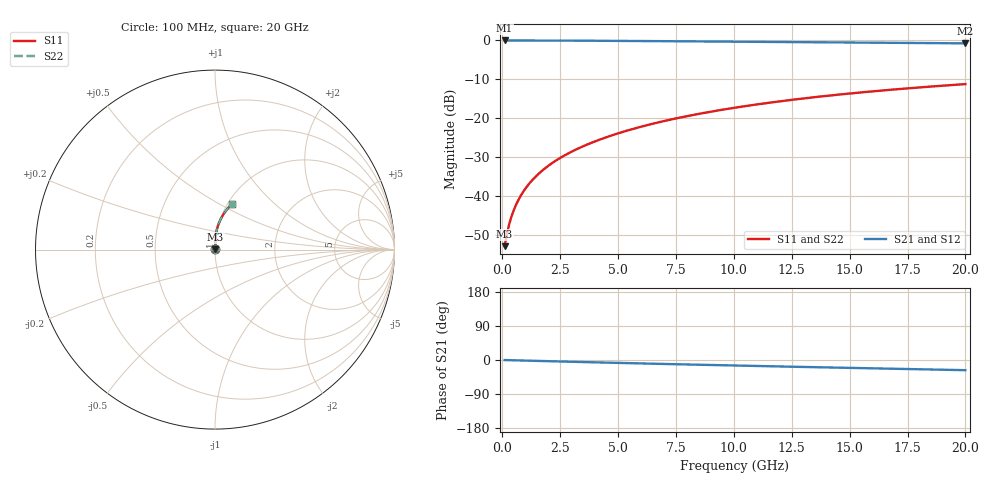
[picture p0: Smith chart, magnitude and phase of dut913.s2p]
! Touchstone file exported from HFSS 2024.1.0
!  File:  C:/UserFiles/LocalFiles/RDL_TSV_Batchsim/temp_RDL_top_913_1779936202.aedt
!  Generated:  10:46:35 AM May 28, 2026
!  Design:  RDL_top
!  Project:  temp_RDL_top_913_1779936202
!  Setup:  Setup1
!  Solution:  Sweep
! Variables:
!  dtsv = 10.80580581um
!  hbump = 3um
!  htsv = 63.31um
!  ldown = 100um
!  lrdl = 352.14um
!  p = 40
!  p1 = 52.16um
!  rhole = 1um
!  t = 450um
!  tdown = 3.915915916um
!  trdl = 3.4um
!  wdown = 15.38538539um
!  wrdl = 23.11um
# GHz S MA R 50.000000
! Terminal data exported
! Port[1] = Box2_T1
! Port[2] = Box2_T2
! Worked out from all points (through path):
!   200 points, 100 MHz to 20 GHz, reference 50 ohm
!   highest |S21| = -0.02 dB at 100 MHz (marker M1); lowest = -0.8 dB at 20 GHz (marker M2)
!   group delay of S21, straight-line fit = 3.69 ps
!   lowest |S11| = -53.0 dB at 100 MHz (marker M3), VSWR 1.00, Z = 50.2 + j0.134 ohm
!   |S11| at or under -10 dB: start of sweep to end of sweep
!   |S22| runs from -53.0 to -11.2 dB; largest |S21 - S12| = 5.1e-15
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0.1  0.002249 36.3  0.9982 -0.2  0.9982 -0.2  0.002249 36.3
! Gamma 0 0 0 0
! Port Impedance 50 0 50 0
0.2  0.003231 54.1  0.9981 -0.3  0.9981 -0.3  0.003231 54.1
0.3  0.004333 62.8  0.998 -0.5  0.998 -0.5  0.004333 62.8
0.4  0.00546 68.0  0.9978 -0.7  0.9978 -0.7  0.00546 68.0
0.5  0.006596 71.5  0.9977 -0.8  0.9977 -0.8  0.006596 71.5
0.6  0.007741 74.0  0.9976 -1.0  0.9976 -1.0  0.007741 74.0
0.8  0.01006 77.6  0.9974 -1.3  0.9974 -1.3  0.01006 77.6
1.1  0.01359 80.8  0.997 -1.8  0.997 -1.8  0.01359 80.8
1.3  0.01598 82.2  0.9968 -2.1  0.9968 -2.1  0.01598 82.2
1.6  0.0196 83.7  0.9963 -2.5  0.9963 -2.5  0.0196 83.7
2.1  0.02573 85.4  0.9952 -3.3  0.9952 -3.3  0.02573 85.3
2.7  0.03324 86.5  0.9937 -4.2  0.9937 -4.2  0.03324 86.5
3.5  0.04353 87.2  0.9913 -5.5  0.9913 -5.5  0.04353 87.2
4.2  0.05279 87.4  0.9888 -6.5  0.9888 -6.5  0.05279 87.4
5  0.06365 87.3  0.9857 -7.7  0.9857 -7.7  0.06365 87.3
5.9  0.07617 86.9  0.9819 -9.0  0.9819 -9.0  0.07617 86.9
6.8  0.08896 86.3  0.9779 -10.2  0.9779 -10.2  0.08895 86.3
8.4  0.1121 84.7  0.9706 -12.4  0.9706 -12.4  0.1121 84.7
10.1  0.1369 82.7  0.9628 -14.6  0.9628 -14.6  0.1369 82.6
13.4  0.1847 78.3  0.9474 -18.8  0.9474 -18.8  0.1846 78.2
16.7  0.2306 73.7  0.9319 -22.9  0.9319 -22.9  0.2306 73.7
20  0.274 69.3  0.9159 -26.9  0.9159 -26.9  0.274 69.3
